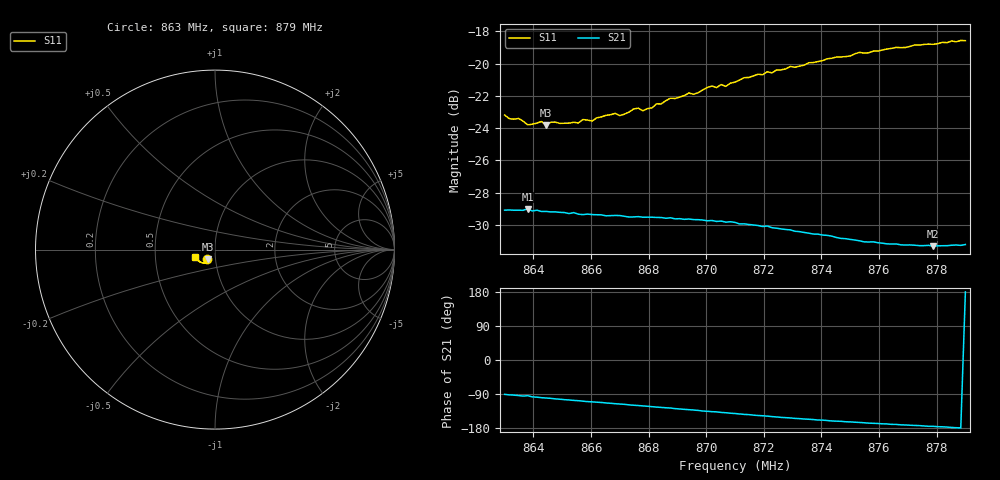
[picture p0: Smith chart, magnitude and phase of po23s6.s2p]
# HZ S RI R 50
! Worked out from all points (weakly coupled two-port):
!   101 points, 863 MHz to 879 MHz, reference 50 ohm
!   highest |S21| = -29.00 dB at 863.8 MHz (marker M1); lowest = -31.3 dB at 877.88 MHz (marker M2)
!   lowest |S11| = -23.8 dB at 864.44 MHz (marker M3), VSWR 1.14, Z = 46.1 - j4.86 ohm
!   |S11| at or under -10 dB: start of sweep to end of sweep
!   S12 and S22 are empty: the file has one direction only
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8.63e8  -0.0445 -0.0531  -0.000438 -0.0352  0 0  0 0
8.6316e8  -0.0425 -0.0525  -0.00126 -0.0352  0 0  0 0
8.6348e8  -0.0413 -0.0535  -0.00239 -0.0351  0 0  0 0
8.638e8  -0.0365 -0.0533  -0.00258 -0.0354  0 0  0 0
8.6428e8  -0.0378 -0.0543  -0.00573 -0.0344  0 0  0 0
8.6444e8  -0.0375 -0.0524  -0.00623 -0.0343  0 0  0 0
8.646e8  -0.0365 -0.0548  -0.00671 -0.0341  0 0  0 0
8.6556e8  -0.0345 -0.0557  -0.0103 -0.0326  0 0  0 0
8.6572e8  -0.034 -0.0578  -0.0109 -0.0323  0 0  0 0
8.6604e8  -0.0332 -0.0575  -0.0119 -0.0319  0 0  0 0
8.6684e8  -0.0339 -0.0614  -0.0145 -0.0306  0 0  0 0
8.67e8  -0.0342 -0.06  -0.0149 -0.0304  0 0  0 0
8.6748e8  -0.034 -0.0639  -0.0164 -0.0292  0 0  0 0
8.678e8  -0.0335 -0.0631  -0.0173 -0.0286  0 0  0 0
8.6844e8  -0.0358 -0.0659  -0.0192 -0.0273  0 0  0 0
8.6876e8  -0.037 -0.0688  -0.0199 -0.0267  0 0  0 0
8.71e8  -0.0474 -0.0737  -0.0251 -0.0202  0 0  0 0
8.7212e8  -0.0571 -0.0751  -0.0267 -0.0166  0 0  0 0
8.7372e8  -0.068 -0.0742  -0.0273 -0.0115  0 0  0 0
8.7644e8  -0.0927 -0.0618  -0.0272 -0.00485  0 0  0 0
8.7788e8  -0.1036 -0.0493  -0.0271 -0.00238  0 0  0 0
8.79e8  -0.1108 -0.0397  -0.0275 7.5e-05  0 0  0 0
